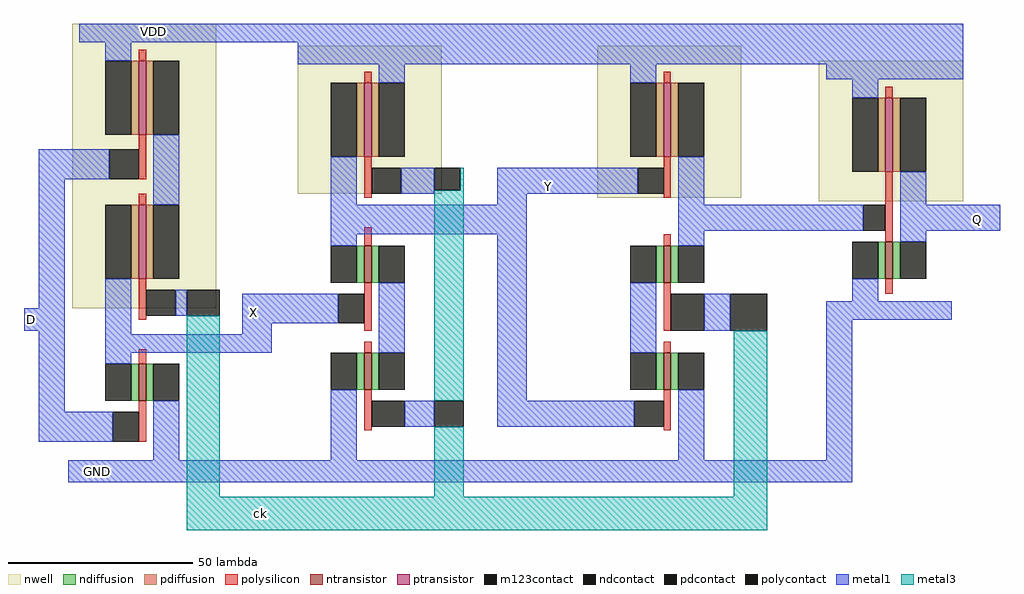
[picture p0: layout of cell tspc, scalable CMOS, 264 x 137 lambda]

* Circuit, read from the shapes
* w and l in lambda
.subckt tspc D GND Q VDD X Y ck
M1 GND D X VSUBS nfet w=10 l=2
M2 n1 ck GND VSUBS nfet w=10 l=2
M3 n1 X Y VSUBS nfet w=10 l=2
M4 GND Y n2 VSUBS nfet w=10 l=2
M5 n3 ck n2 VSUBS nfet w=10 l=2
M6 Q n3 GND VSUBS nfet w=10 l=2
M7 n4 ck X n5 pfet w=20 l=2
M8 n4 D VDD n5 pfet w=20 l=2
M9 VDD ck Y n6 pfet w=20 l=2
M10 n3 Y VDD n7 pfet w=20 l=2
M11 Q n3 VDD n8 pfet w=20 l=2
.ends

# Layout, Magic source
magic
tech scmos
<< nwell >>
rect 67 18 106 95
rect 128 49 167 89
rect 209 48 248 89
rect 269 47 308 85
<< ntransistor >>
rect 146 25 148 35
rect 227 25 229 35
rect 287 26 289 36
rect 85 -7 87 3
rect 146 -4 148 6
rect 227 -4 229 6
<< ptransistor >>
rect 85 65 87 85
rect 146 59 148 79
rect 227 59 229 79
rect 287 55 289 75
rect 85 26 87 46
<< ndiffusion >>
rect 144 25 146 35
rect 148 25 150 35
rect 225 25 227 35
rect 229 25 231 35
rect 285 26 287 36
rect 289 26 291 36
rect 83 -7 85 3
rect 87 -7 89 3
rect 144 -4 146 6
rect 148 -4 150 6
rect 225 -4 227 6
rect 229 -4 231 6
<< pdiffusion >>
rect 83 65 85 85
rect 87 65 89 85
rect 144 59 146 79
rect 148 59 150 79
rect 225 59 227 79
rect 229 59 231 79
rect 285 55 287 75
rect 289 55 291 75
rect 83 26 85 46
rect 87 26 89 46
<< ndcontact >>
rect 137 25 144 35
rect 150 25 157 35
rect 218 25 225 35
rect 231 25 238 35
rect 278 26 285 36
rect 291 26 298 36
rect 76 -7 83 3
rect 89 -7 96 3
rect 137 -4 144 6
rect 150 -4 157 6
rect 218 -4 225 6
rect 231 -4 238 6
<< pdcontact >>
rect 76 65 83 85
rect 89 65 96 85
rect 137 59 144 79
rect 150 59 157 79
rect 218 59 225 79
rect 231 59 238 79
rect 278 55 285 75
rect 291 55 298 75
rect 76 26 83 46
rect 89 26 96 46
<< polysilicon >>
rect 85 85 87 88
rect 146 79 148 82
rect 227 79 229 82
rect 85 53 87 65
rect 287 75 289 78
rect 85 46 87 49
rect 146 48 148 59
rect 227 48 229 59
rect 146 35 148 40
rect 227 35 229 38
rect 287 36 289 55
rect 85 15 87 26
rect 146 12 148 25
rect 227 12 229 25
rect 287 22 289 26
rect 85 3 87 7
rect 146 6 148 9
rect 227 6 229 9
rect 85 -18 87 -7
rect 146 -15 148 -4
rect 227 -15 229 -4
<< polycontact >>
rect 77 53 85 61
rect 148 49 156 56
rect 220 49 227 56
rect 281 39 287 46
rect 87 16 95 23
rect 139 14 146 22
rect 229 12 238 22
rect 78 -18 85 -10
rect 148 -14 157 -7
rect 219 -14 227 -7
<< metal1 >>
rect 69 90 308 95
rect 76 85 83 90
rect 128 84 308 90
rect 150 79 157 84
rect 58 53 77 61
rect 58 18 65 53
rect 89 46 96 65
rect 54 12 65 18
rect 58 -10 65 12
rect 218 79 225 84
rect 271 80 308 84
rect 137 46 144 59
rect 156 49 165 56
rect 182 49 220 56
rect 182 46 190 49
rect 137 38 190 46
rect 137 35 144 38
rect 76 11 83 26
rect 95 16 98 23
rect 113 14 139 22
rect 113 11 121 14
rect 76 6 121 11
rect 150 6 157 25
rect 76 3 83 6
rect 58 -18 78 -10
rect 89 -23 96 -7
rect 137 -23 144 -4
rect 182 -7 190 38
rect 231 46 238 59
rect 278 75 285 80
rect 291 46 298 55
rect 231 39 281 46
rect 291 39 318 46
rect 231 35 238 39
rect 291 36 298 39
rect 218 6 225 25
rect 238 12 245 22
rect 278 20 285 26
rect 271 15 305 20
rect 157 -14 165 -7
rect 182 -14 219 -7
rect 231 -23 238 -4
rect 271 -23 278 15
rect 66 -29 278 -23
<< m123contact >>
rect 165 50 172 56
rect 98 16 107 23
rect 245 12 255 22
rect 165 -14 173 -7
<< metal3 >>
rect 172 50 173 56
rect 98 -33 107 16
rect 165 -7 173 50
rect 165 -33 173 -14
rect 246 -33 255 12
rect 98 -42 255 -33
<< labels >>
rlabel metal1 89 93 89 93 5 VDD
rlabel metal1 56 15 56 15 1 D
rlabel metal1 74 -26 74 -26 1 GND
rlabel metal1 116 17 116 17 1 X
rlabel metal1 196 51 196 51 1 Y
rlabel metal3 114 -42 122 -33 1 ck
rlabel metal1 312 42 312 42 1 Q
<< end >>
